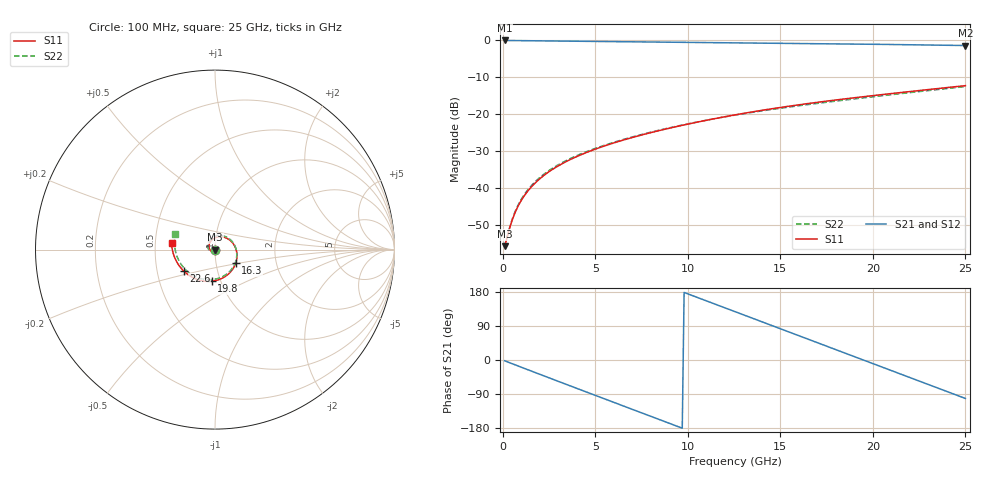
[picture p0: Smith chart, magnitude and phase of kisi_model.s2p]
! kisi D_s8_cap_2: fast channel model (formula impedances, via model), up to 25 GHz
# Hz S RI R 50
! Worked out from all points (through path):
!   250 points, 100 MHz to 25 GHz, reference 50 ohm
!   highest |S21| = -0.02 dB at 100 MHz (marker M1); lowest = -1.4 dB at 25 GHz (marker M2)
!   group delay of S21, straight-line fit = 51.2 ps
!   lowest |S11| = -55.6 dB at 100 MHz (marker M3), VSWR 1.00, Z = 50.2 - j0.0604 ohm
!   |S11| at or under -10 dB: start of sweep to end of sweep
!   |S22| runs from -55.5 to -12.5 dB; largest |S21 - S12| = 0
!   S11 on the Smith chart (normalised r, x): 100 MHz: 1.00, -0.00; 16.3 GHz: 1.24, -0.19; 19.8 GHz: 0.91, -0.33; 22.6 GHz: 0.68, -0.17; 25 GHz: 0.61, +0.04
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1e8  0.00155 -0.000602  0.9972 -0.0343  0.9972 -0.0343  0.00156 -0.000602
7e8  0.00051 -0.0049  0.9664 -0.2302  0.9664 -0.2302  0.000816 -0.00503
1.4e9  -0.00348 -0.00888  0.8847 -0.442  0.8847 -0.442  -0.00252 -0.00959
2.9e9  -0.0171 -0.00936  0.5694 -0.7979  0.5694 -0.7979  -0.0152 -0.0134
4.3e9  -0.029 0.0012  0.1619 -0.9591  0.1619 -0.9591  -0.0289 -0.00732
5.2e9  -0.0331 0.0125  -0.1187 -0.9606  -0.1187 -0.9606  -0.0362 0.0016
6.2e9  -0.0328 0.0273  -0.4143 -0.869  -0.4143 -0.869  -0.0407 0.0155
7.4e9  -0.0248 0.0456  -0.7065 -0.6451  -0.7065 -0.6451  -0.0387 0.0358
8.4e9  -0.0116 0.0589  -0.8694 -0.3869  -0.8694 -0.3869  -0.0295 0.0533
9.4e9  0.00698 0.0683  -0.942 -0.0922  -0.942 -0.0922  -0.0126 0.0682
1.04e10  0.0298 0.0717  -0.918 0.2086  -0.918 0.2086  0.0111 0.0774
1.15e10  0.0577 0.0666  -0.7844 0.51  -0.7844 0.51  0.0426 0.0772
1.26e10  0.0853 0.0505  -0.5563 0.745  -0.5563 0.745  0.0752 0.0634
1.44e10  0.1178 -0.000149  -0.0587 0.918  -0.0587 0.918  0.115 0.0108
1.63e10  0.1155 -0.0758  0.4718 0.7769  0.4718 0.7769  0.114 -0.0706
1.67e10  0.1086 -0.0923  0.5659 0.7083  0.5659 0.7083  0.1063 -0.088
1.83e10  0.0576 -0.1494  0.8319 0.3354  0.8319 0.3354  0.0502 -0.1461
1.98e10  -0.0181 -0.1762  0.8834 -0.0872  0.8834 -0.0872  -0.0311 -0.1681
2.09e10  -0.0822 -0.1714  0.7923 -0.3844  0.7923 -0.3844  -0.0974 -0.1557
2.26e10  -0.1752 -0.1184  0.4709 -0.7308  0.4709 -0.7308  -0.1859 -0.0861
2.38e10  -0.2218 -0.0508  0.1592 -0.8462  0.1592 -0.8462  -0.2209 -0.00607
2.5e10  -0.2423 0.0344  -0.17 -0.835  -0.17 -0.835  -0.2211 0.0877
